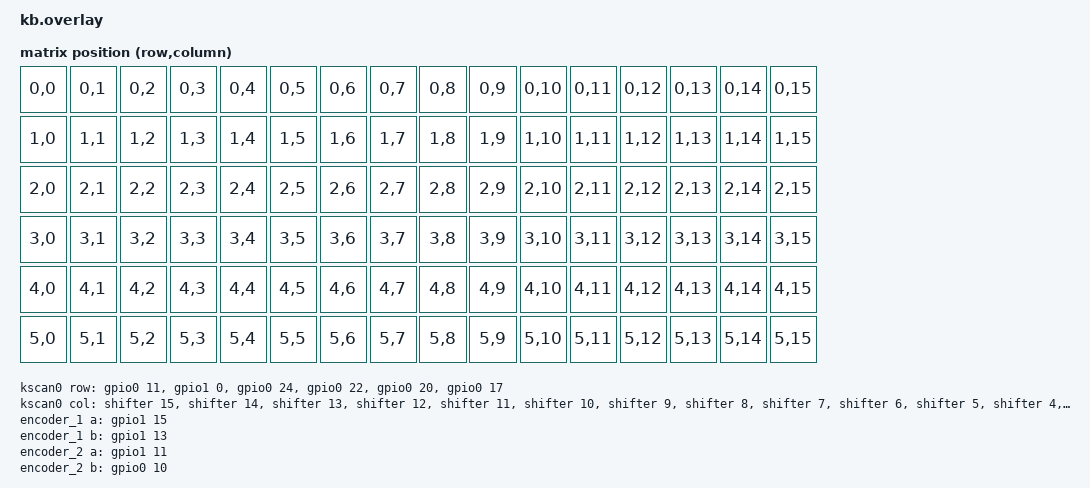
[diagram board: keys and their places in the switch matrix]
#include <dt-bindings/led/led.h>
#include <dt-bindings/zmk/matrix_transform.h>

/ {
    chosen {
        zmk,kscan = &kscan0;
        zmk,physical-layout = &physical_layout;
        zmk,underglow = &led_strip;
    };

    default_transform: keymap_transform_0 {
        compatible = "zmk,matrix-transform";
        columns = <16>;
        rows = <6>;
        map = <
RC(0,0)  RC(0,1)  RC(0,2)  RC(0,3)  RC(0,4)  RC(0,5)  RC(0,6)  RC(0,7)  RC(0,8)  RC(0,9)  RC(0,10) RC(0,11) RC(0,12) RC(0,13) RC(0,14) RC(0,15)
RC(1,0)  RC(1,1)  RC(1,2)  RC(1,3)  RC(1,4)  RC(1,5)  RC(1,6)  RC(1,7)  RC(1,8)  RC(1,9)  RC(1,10) RC(1,11) RC(1,12) RC(1,13) RC(1,14) RC(1,15)
RC(2,0)  RC(2,1)  RC(2,2)  RC(2,3)  RC(2,4)  RC(2,5)  RC(2,6)  RC(2,7)  RC(2,8)  RC(2,9)  RC(2,10) RC(2,11) RC(2,12) RC(2,13) RC(2,14) RC(2,15)
RC(3,0)  RC(3,1)  RC(3,2)  RC(3,3)  RC(3,4)  RC(3,5)  RC(3,6)  RC(3,7)  RC(3,8)  RC(3,9)  RC(3,10) RC(3,11) RC(3,12) RC(3,13) RC(3,14) RC(3,15)
RC(4,0)  RC(4,1)  RC(4,2)  RC(4,3)  RC(4,4)  RC(4,5)  RC(4,6)  RC(4,7)  RC(4,8)  RC(4,9)  RC(4,10) RC(4,11) RC(4,12) RC(4,13) RC(4,14) RC(4,15)
RC(5,0)  RC(5,1)  RC(5,2)  RC(5,3)  RC(5,4)  RC(5,5)  RC(5,6)  RC(5,7)  RC(5,8)  RC(5,9)  RC(5,10) RC(5,11) RC(5,12) RC(5,13) RC(5,14) RC(5,15)
        >;
    };

    physical_layout: physical_layout_0 {
        compatible = "zmk,physical-layout";
        display-name = "Default";
        kscan = <&kscan0>;
        transform = <&default_transform>;
    };

    kscan0: kscan {
        compatible = "zmk,kscan-gpio-matrix";
        wakeup-source;

        diode-direction = "col2row";

        row-gpios
            = <&gpio0 11 (GPIO_ACTIVE_HIGH | GPIO_PULL_DOWN)>
            , <&gpio1 0 (GPIO_ACTIVE_HIGH | GPIO_PULL_DOWN)>
            , <&gpio0 24 (GPIO_ACTIVE_HIGH | GPIO_PULL_DOWN)>
            , <&gpio0 22 (GPIO_ACTIVE_HIGH | GPIO_PULL_DOWN)>
            , <&gpio0 20 (GPIO_ACTIVE_HIGH | GPIO_PULL_DOWN)>
            , <&gpio0 17 (GPIO_ACTIVE_HIGH | GPIO_PULL_DOWN)>
            ;

        col-gpios
            = <&shifter 15 GPIO_ACTIVE_HIGH>
            , <&shifter 14 GPIO_ACTIVE_HIGH>
            , <&shifter 13 GPIO_ACTIVE_HIGH>
            , <&shifter 12 GPIO_ACTIVE_HIGH>
            , <&shifter 11 GPIO_ACTIVE_HIGH>
            , <&shifter 10 GPIO_ACTIVE_HIGH>
            , <&shifter 9 GPIO_ACTIVE_HIGH>
            , <&shifter 8 GPIO_ACTIVE_HIGH>
            , <&shifter 7 GPIO_ACTIVE_HIGH>
            , <&shifter 6 GPIO_ACTIVE_HIGH>
            , <&shifter 5 GPIO_ACTIVE_HIGH>
            , <&shifter 4 GPIO_ACTIVE_HIGH>
            , <&shifter 3 GPIO_ACTIVE_HIGH>
            , <&shifter 2 GPIO_ACTIVE_HIGH>
            , <&shifter 1 GPIO_ACTIVE_HIGH>
            , <&shifter 0 GPIO_ACTIVE_HIGH>
            ;
    };

    encoder_1: encoder_1 {
        compatible = "alps,ec11";
        a-gpios = <&gpio1 15 (GPIO_ACTIVE_HIGH | GPIO_PULL_UP)>;
        b-gpios = <&gpio1 13 (GPIO_ACTIVE_HIGH | GPIO_PULL_UP)>;
        steps = <4>;
        status = "okay";
    };

    encoder_2: encoder_2 {
        compatible = "alps,ec11";
        a-gpios = <&gpio1 11 (GPIO_ACTIVE_HIGH | GPIO_PULL_UP)>;
        b-gpios = <&gpio0 10 (GPIO_ACTIVE_HIGH | GPIO_PULL_UP)>;
        steps = <4>;
        status = "okay";
    };
};

&pinctrl {
    spi3_default: spi3_default {
        group1 {
            psels = <NRF_PSEL(SPIM_SCK, 0, 29)>, <NRF_PSEL(SPIM_MOSI, 0, 2)>;
        };
    };

    spi3_sleep: spi3_sleep {
        group1 {
            psels = <NRF_PSEL(SPIM_SCK, 0, 29)>, <NRF_PSEL(SPIM_MOSI, 0, 2)>;
            low-power-enable;
        };
    };
};

&spi3 {
    compatible = "nordic,nrf-spim";
    status = "okay";

    pinctrl-0 = <&spi3_default>;
    pinctrl-1 = <&spi3_sleep>;
    pinctrl-names = "default", "sleep";
    cs-gpios = <&gpio1 4 GPIO_ACTIVE_LOW>, <&gpio0 31 GPIO_ACTIVE_LOW>;

    shifter: 595@0 {
        compatible = "zmk,gpio-595";
        status = "okay";
        reg = <0>;
        spi-max-frequency = <4000000>;
        gpio-controller;
        #gpio-cells = <2>;
        ngpios = <16>;
    };

    led_strip: ws2812@1 {
        compatible = "worldsemi,ws2812-spi";
        reg = <1>;
        spi-max-frequency = <4000000>;
        chain-length = <16>;
        spi-one-frame = <0x70>;
        spi-zero-frame = <0x40>;
        color-mapping = <LED_COLOR_ID_GREEN LED_COLOR_ID_RED LED_COLOR_ID_BLUE>;
    };
};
